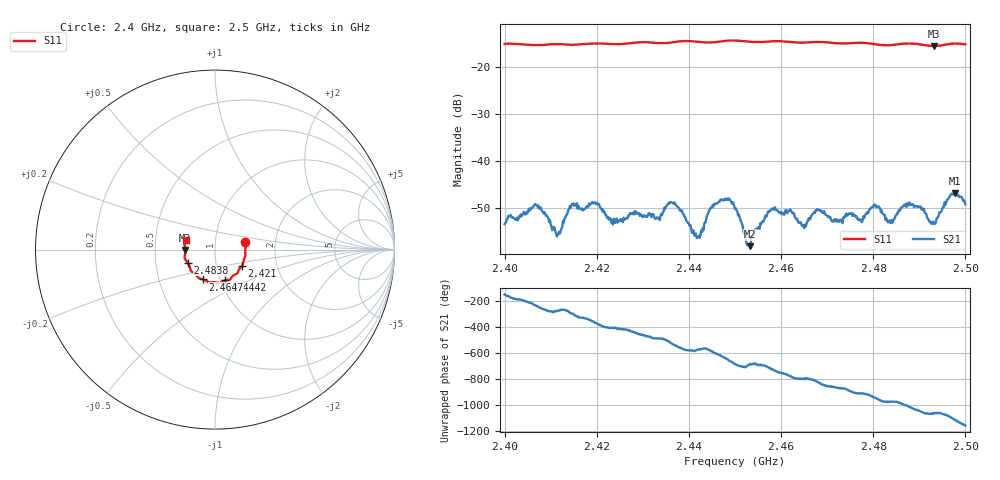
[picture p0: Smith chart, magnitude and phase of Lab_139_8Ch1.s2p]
# Hz S RI R 50
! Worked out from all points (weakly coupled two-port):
!   601 points, 2.4 GHz to 2.5 GHz, reference 50 ohm
!   highest |S21| = -46.96 dB at 2.4977 GHz (marker M1); lowest = -58.2 dB at 2.4533 GHz (marker M2)
!   lowest |S11| = -15.6 dB at 2.4932 GHz (marker M3), VSWR 1.40, Z = 35.8 - j0.103 ohm
!   |S11| at or under -10 dB: start of sweep to end of sweep
!   S12 and S22 are empty: the file has one direction only
!   S11 on the Smith chart (normalised r, x): 2.4 GHz: 1.40, +0.12; 2.421 GHz: 1.33, -0.24; 2.4442 GHz: 1.05, -0.37; 2.4647 GHz: 0.83, -0.28; 2.4838 GHz: 0.73, -0.11; 2.5 GHz: 0.71, +0.08
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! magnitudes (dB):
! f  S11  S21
! 2.4 GHz  -15.2  -53.5
! 2.4068 GHz  -15.4  -49.4
! 2.4117 GHz  -15.2  -55.6
! 2.4145 GHz  -15.4  -49.5
! 2.4167 GHz  -15.3  -50.4
! 2.421 GHz  -15.1  -50.4
! 2.4333 GHz  -15.0  -52.4
! 2.4367 GHz  -14.8  -49.2
! 2.442 GHz  -14.8  -56.3
! 2.4442 GHz  -14.9  -51.2
! 2.45 GHz  -14.5  -50.2
! 2.4533 GHz  -14.7  -58.2
! 2.4582 GHz  -14.6  -50.2
! 2.4647 GHz  -14.9  -53.8
! 2.4667 GHz  -14.8  -51.6
! 2.4807 GHz  -15.3  -49.9
! 2.4833 GHz  -15.5  -52.9
! 2.4838 GHz  -15.5  -53.2
! 2.4878 GHz  -15.1  -48.9
! 2.4932 GHz  -15.6  -53.5
! 2.4977 GHz  -15.1  -47.0
! 2.5 GHz  -15.3  -49.3
